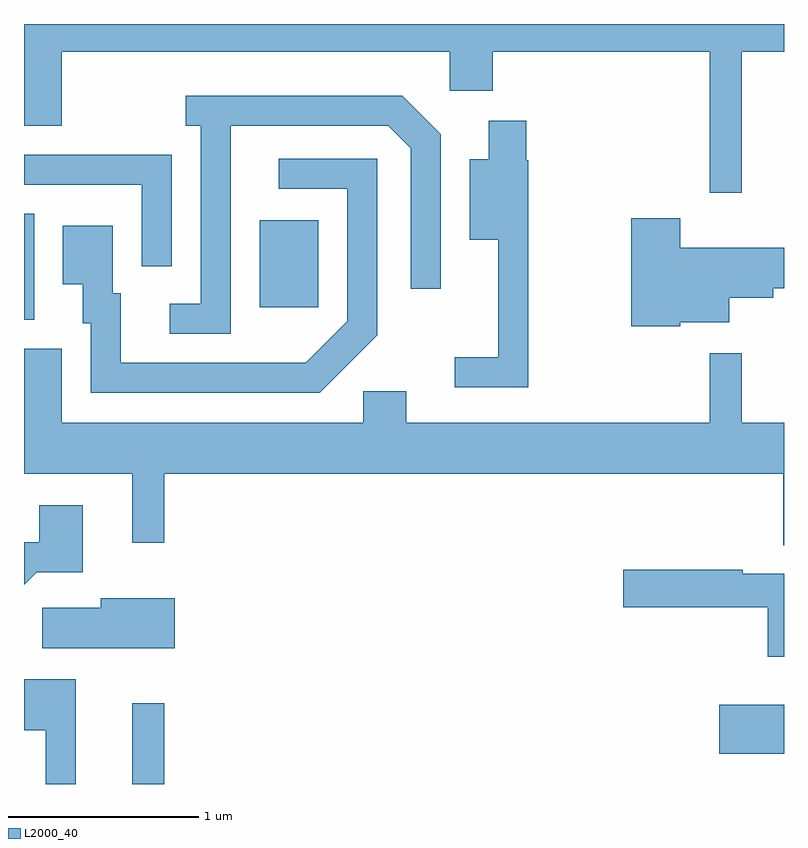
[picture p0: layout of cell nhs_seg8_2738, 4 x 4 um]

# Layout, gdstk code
import gdstk
lib = gdstk.Library(unit=1e-6, precision=1e-09)
def R(c, l, rs):  # rectangles x0, y0, x1, y1
    for r in rs: c.add(gdstk.rectangle(r[:2], r[2:], *l))
def P(c, l, *ps):  # polygons
    for p in ps: c.add(gdstk.Polygon(p, *l))
L2000_40 = (2000, 40)

nhs_seg8_2738 = lib.new_cell('nhs_seg8_2738')
R(nhs_seg8_2738, L2000_40, [(268.181,1830.342,268.349,1830.768), (271.271,1830.501,271.611,1830.759), (267.611,1832.786,267.664,1833.344), (268.851,1832.851,269.159,1833.309)])
P(nhs_seg8_2738, L2000_40, [(271.389,1834.196),(271.611,1834.196),(271.611,1834.342),(267.611,1834.342),(267.611,1833.806),(267.809,1833.806),(267.809,1834.196),(269.851,1834.196),(269.851,1833.991),(270.079,1833.991),(270.079,1834.196),(271.221,1834.196),(271.221,1833.453),(271.389,1833.453)],
  [(268.699,1833.806),(269.529,1833.806),(269.646,1833.689),(269.646,1832.948),(269.804,1832.948),(269.804,1833.762),(269.602,1833.964),(268.463,1833.964),(268.463,1833.806),(268.541,1833.806),(268.541,1832.869),(268.378,1832.869),(268.378,1832.711),(268.699,1832.711)],
  [(270.264,1833.625),(270.254,1833.625),(270.254,1833.834),(270.056,1833.834),(270.056,1833.629),(269.956,1833.629),(269.956,1833.206),(270.106,1833.206),(270.106,1832.589),(269.878,1832.589),(269.878,1832.431),(270.264,1832.431)],
  [(268.389,1833.654),(267.611,1833.654),(267.611,1833.496),(268.231,1833.496),(268.231,1833.068),(268.389,1833.068)],
  [(269.469,1832.704),(269.469,1833.634),(268.953,1833.634),(268.953,1833.476),(269.311,1833.476),(269.311,1832.777),(269.094,1832.559),(268.119,1832.559),(268.119,1832.924),(268.079,1832.924),(268.079,1833.279),(267.816,1833.279),(267.816,1832.971),(267.921,1832.971),(267.921,1832.766),(267.961,1832.766),(267.961,1832.401),(269.167,1832.401)],
  [(271.064,1832.771),(271.324,1832.771),(271.324,1832.901),(271.554,1832.901),(271.554,1832.951),(271.611,1832.951),(271.611,1833.164),(271.064,1833.164),(271.064,1833.319),(270.806,1833.319),(270.806,1832.751),(271.064,1832.751)],
  [(267.809,1832.634),(267.611,1832.634),(267.611,1831.976),(268.181,1831.976),(268.181,1831.613),(268.349,1831.613),(268.349,1831.976),(271.606,1831.976),(271.606,1831.598),(271.611,1831.598),(271.611,1832.244),(271.389,1832.244),(271.389,1832.608),(271.221,1832.608),(271.221,1832.244),(269.624,1832.244),(269.624,1832.409),(269.396,1832.409),(269.396,1832.244),(267.809,1832.244)],
  [(267.677,1831.456),(267.919,1831.456),(267.919,1831.809),(267.691,1831.809),(267.691,1831.614),(267.611,1831.614),(267.611,1831.39)],
  [(271.611,1831.449),(271.394,1831.449),(271.394,1831.469),(270.766,1831.469),(270.766,1831.271),(271.526,1831.271),(271.526,1831.011),(271.611,1831.011)],
  [(268.404,1831.319),(268.016,1831.319),(268.016,1831.269),(267.706,1831.269),(267.706,1831.056),(268.404,1831.056)],
  [(267.884,1830.894),(267.611,1830.894),(267.611,1830.626),(267.726,1830.626),(267.726,1830.342),(267.884,1830.342)])

lib.write_gds('nhs_seg8_2738.gds')
